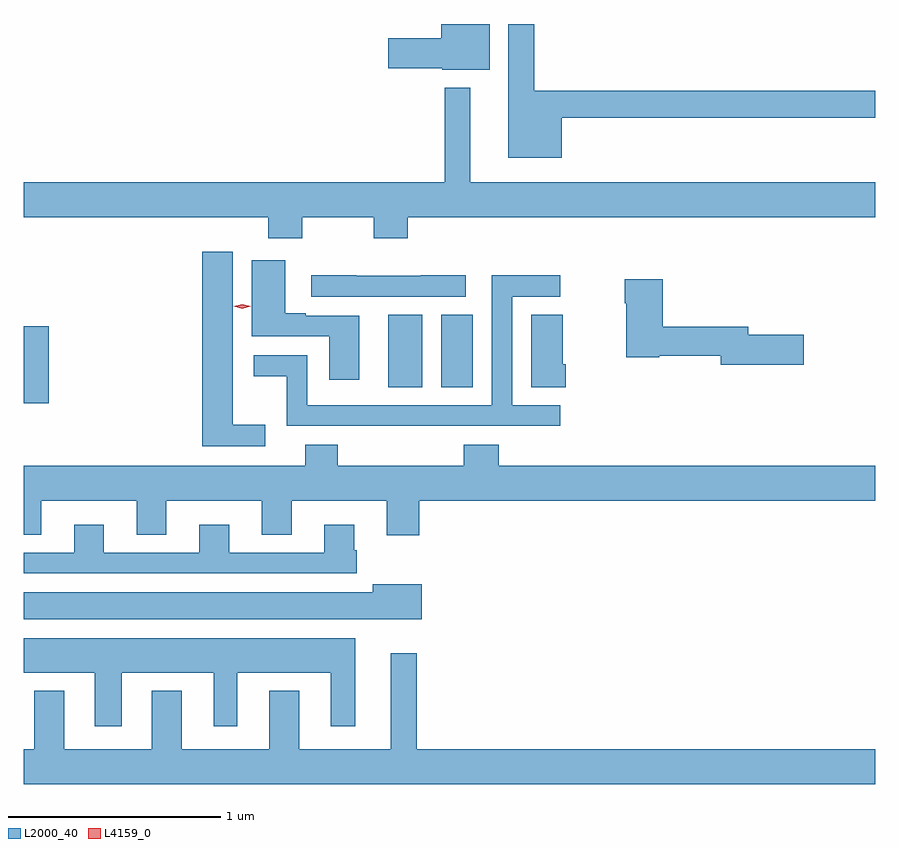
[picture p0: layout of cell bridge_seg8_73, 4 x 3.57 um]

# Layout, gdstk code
import gdstk
lib = gdstk.Library(unit=1e-6, precision=1e-09)
def R(c, l, rs):  # rectangles x0, y0, x1, y1
    for r in rs: c.add(gdstk.rectangle(r[:2], r[2:], *l))
def P(c, l, *ps):  # polygons
    for p in ps: c.add(gdstk.Polygon(p, *l))
L2000_40 = (2000, 40)
L4159_0 = (4159, 0)

bridge_seg8_73 = lib.new_cell('bridge_seg8_73')
R(bridge_seg8_73, L2000_40, [(958.827,1118.29,958.943,1118.65), (960.539,1118.365,960.7,1118.705), (960.788,1118.365,960.937,1118.705)])
P(bridge_seg8_73, L2000_40, [(961.354,1119.63),(962.827,1119.63),(962.827,1119.758),(961.225,1119.758),(961.225,1120.071),(961.103,1120.071),(961.103,1119.443),(961.354,1119.443)],
  [(961.015,1120.071),(960.788,1120.071),(960.788,1120.005),(960.54,1120.005),(960.54,1119.863),(960.792,1119.863),(960.792,1119.857),(961.015,1119.857)],
  [(962.827,1119.328),(960.925,1119.328),(960.925,1119.772),(960.804,1119.772),(960.804,1119.328),(958.827,1119.328),(958.827,1119.164),(959.975,1119.164),(959.975,1119.065),(960.135,1119.065),(960.135,1119.164),(960.472,1119.164),(960.472,1119.065),(960.632,1119.065),(960.632,1119.164),(962.827,1119.164)],
  [(959.962,1118.187),(959.809,1118.187),(959.809,1119.001),(959.666,1119.001),(959.666,1118.088),(959.962,1118.088)],
  [(960.403,1118.7),(960.151,1118.7),(960.151,1118.713),(960.055,1118.713),(960.055,1118.962),(959.897,1118.962),(959.897,1118.604),(960.263,1118.604),(960.263,1118.4),(960.403,1118.4)],
  [(960.809,1118.184),(961.129,1118.184),(961.129,1118.183),(961.348,1118.183),(961.348,1118.28),(961.122,1118.28),(961.122,1118.79),(961.348,1118.79),(961.348,1118.891),(961.026,1118.891),(961.026,1118.28),(960.159,1118.28),(960.159,1118.514),(959.907,1118.514),(959.907,1118.416),(960.063,1118.416),(960.063,1118.184),(960.385,1118.184),(960.385,1118.183),(960.809,1118.183)],
  [(960.904,1118.891),(960.691,1118.891),(960.691,1118.887),(960.389,1118.887),(960.389,1118.891),(960.177,1118.891),(960.177,1118.79),(960.904,1118.79)],
  [(962.491,1118.612),(962.23,1118.612),(962.23,1118.648),(961.829,1118.648),(961.829,1118.872),(961.651,1118.872),(961.651,1118.759),(961.658,1118.759),(961.658,1118.504),(961.812,1118.504),(961.812,1118.512),(962.102,1118.512),(962.102,1118.47),(962.491,1118.47)],
  [(961.373,1118.473),(961.36,1118.473),(961.36,1118.705),(961.211,1118.705),(961.211,1118.365),(961.373,1118.365)],
  [(960.686,1117.832),(962.827,1117.832),(962.827,1117.996),(961.058,1117.996),(961.058,1118.095),(960.893,1118.095),(960.893,1117.996),(960.302,1117.996),(960.302,1118.095),(960.149,1118.095),(960.149,1117.996),(958.827,1117.996),(958.827,1117.672),(958.909,1117.672),(958.909,1117.832),(959.357,1117.832),(959.357,1117.672),(959.497,1117.672),(959.497,1117.832),(959.945,1117.832),(959.945,1117.672),(960.085,1117.672),(960.085,1117.832),(960.533,1117.832),(960.533,1117.668),(960.686,1117.668)],
  [(960.392,1117.599),(960.379,1117.599),(960.379,1117.717),(960.239,1117.717),(960.239,1117.587),(959.791,1117.587),(959.791,1117.717),(959.651,1117.717),(959.651,1117.587),(959.203,1117.587),(959.203,1117.717),(959.063,1117.717),(959.063,1117.587),(958.827,1117.587),(958.827,1117.491),(960.392,1117.491)],
  [(960.697,1117.438),(960.467,1117.438),(960.467,1117.402),(958.827,1117.402),(958.827,1117.274),(960.697,1117.274)],
  [(959.287,1117.022),(959.72,1117.022),(959.72,1116.771),(959.83,1116.771),(959.83,1117.022),(960.269,1117.022),(960.269,1116.771),(960.385,1116.771),(960.385,1117.186),(958.827,1117.186),(958.827,1117.022),(959.159,1117.022),(959.159,1116.771),(959.287,1116.771)],
  [(962.827,1116.664),(960.673,1116.664),(960.673,1117.114),(960.551,1117.114),(960.551,1116.664),(960.121,1116.664),(960.121,1116.937),(959.981,1116.937),(959.981,1116.664),(959.569,1116.664),(959.569,1116.937),(959.429,1116.937),(959.429,1116.664),(959.017,1116.664),(959.017,1116.937),(958.877,1116.937),(958.877,1116.664),(958.827,1116.664),(958.827,1116.5),(962.827,1116.5)])
P(bridge_seg8_73, L4159_0, [(959.853,1118.734),(959.813,1118.744),(959.813,1118.745),(959.813,1118.745),(959.853,1118.754),(959.893,1118.744),(959.893,1118.744),(959.893,1118.744)])

lib.write_gds('bridge_seg8_73.gds')
